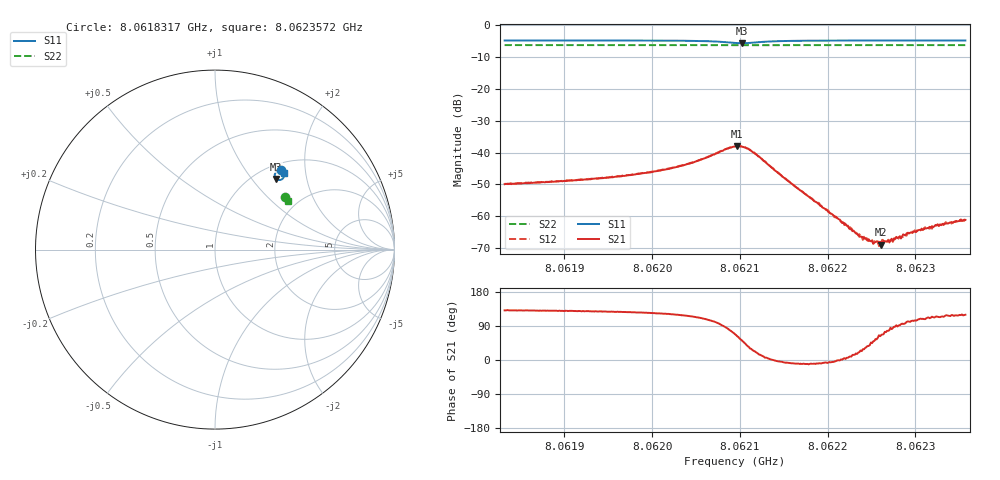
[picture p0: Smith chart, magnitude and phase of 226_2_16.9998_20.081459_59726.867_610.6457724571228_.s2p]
#  HZ  S  RI  R  50.00
! Rohde & Schwarz Vector Network Analyzer
! Rohde-Schwarz,ZNB20-2Port,1311601062101988,3.16
! Created: UTC 3/20/2024, 11:02:10 PM
! freq[Hz]  re:S11  im:S11  re:S21  im:S21  re:S12  im:S12  re:S22  im:S22
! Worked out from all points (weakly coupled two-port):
!   401 points, 8.0618317 GHz to 8.0623572 GHz, reference 50 ohm
!   highest |S21| = -37.99 dB at 8.0620971 GHz (marker M1); lowest = -69.0 dB at 8.0622613 GHz (marker M2)
!   lowest |S11| = -5.7 dB at 8.0621024 GHz (marker M3), VSWR 3.18, Z = 61.9 + j66.9 ohm
!   |S11| at or under -10 dB: nowhere
!   |S22| runs from -6.3 to -6.2 dB; largest |S21 - S12| = 0.00092
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8.06183174e9  0.3659 0.4447  -0.00208 0.00241  -0.00196 0.00255  0.3875 0.2954
8.06191976e9  0.3723 0.4386  -0.00233 0.00292  -0.00221 0.00307  0.3904 0.2911
8.06197362e9  0.377 0.4337  -0.0026 0.00355  -0.00241 0.00369  0.3923 0.2883
8.06200778e9  0.3804 0.4287  -0.00283 0.00433  -0.00258 0.00454  0.3935 0.2866
8.0620485e9  0.3843 0.4171  -0.00287 0.00652  -0.00249 0.00678  0.3949 0.2841
8.06209448e9  0.3563 0.3875  0.00464 0.0115  0.00536 0.0113  0.3944 0.2811
8.06209711e9  0.3513 0.3884  0.00582 0.0112  0.00661 0.0109  0.3945 0.2811
8.06210236e9  0.3416 0.3935  0.00769 0.00968  0.00829 0.00933  0.3944 0.2811
8.0621155e9  0.3327 0.4165  0.00908 0.00414  0.00941 0.0037  0.3947 0.2816
8.06214834e9  0.3536 0.4391  0.00418 -0.000366  0.00421 -0.000643  0.397 0.2808
8.0621825e9  0.3662 0.4387  0.00182 -0.000325  0.00183 -0.000427  0.3986 0.2792
8.06223636e9  0.3756 0.4348  0.000442 0.00017  0.000493 0.000164  0.4006 0.2763
8.06224949e9  0.3771 0.4339  0.000279 0.000291  0.000299 0.000236  0.4011 0.2754
8.06225738e9  0.378 0.4335  0.000208 0.000343  0.000218 0.000324  0.4014 0.2751
8.06226132e9  0.3784 0.4331  0.000143 0.000325  0.000185 0.000321  0.4015 0.2749
8.06227051e9  0.3794 0.4325  7.42e-05 0.000379  7.98e-05 0.00041  0.4017 0.2744
8.06227445e9  0.3795 0.4322  4.15e-05 0.000406  5.03e-05 0.000391  0.402 0.2741
8.06229284e9  0.3813 0.4312  -0.000106 0.000526  -5.94e-05 0.000534  0.4025 0.2733
8.06231255e9  0.3831 0.4298  -0.000221 0.000602  -0.000214 0.00063  0.4033 0.2722
8.0623178e9  0.3834 0.4294  -0.000247 0.000615  -0.000232 0.000627  0.4033 0.2719
8.0623362e9  0.3848 0.4283  -0.00036 0.000677  -0.00033 0.000705  0.4039 0.2711
8.06235722e9  0.3864 0.4273  -0.000429 0.000763  -0.000384 0.0008  0.4046 0.27
